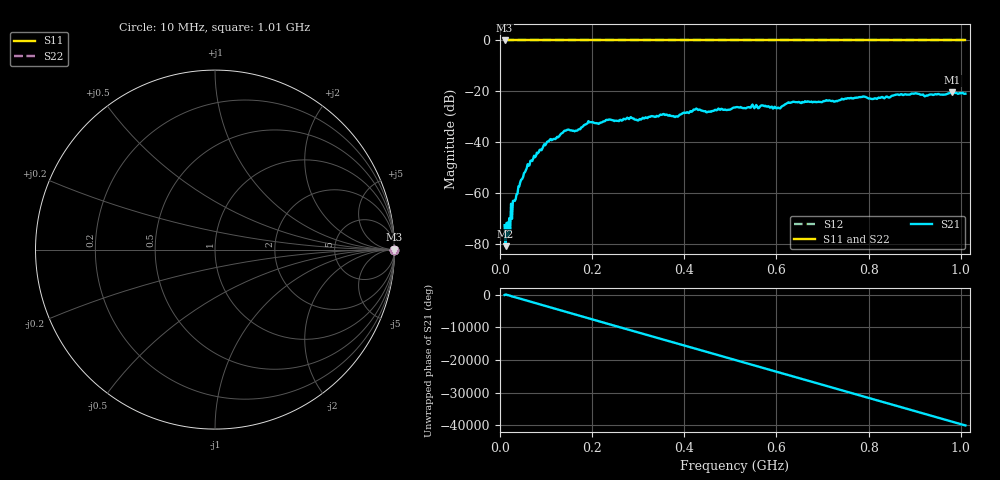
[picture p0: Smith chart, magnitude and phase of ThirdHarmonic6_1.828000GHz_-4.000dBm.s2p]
! 8/16/2025 10:08:27 PM
! C:\ANRITSUVNA\TEMP\TEMP.S2P
! CHANNEL.1
! TR.MEASUREMENT
! RAW.DATA
! RF.CORRECTION.OFF
! AVERAGING.OFF
! IF.BANDWIDTH: 5KHZ
! SWEEPTYPE:  FREQ.SWEEP(Linear)
! Reference Plane Port Info
! PORT:  PORT1  PORT2
! DISTANCE:  0  m  0  m
! TIME:  0  s  0  s
! PHASE.OFFSET:  0  deg.  0  deg.
! LOSS:  0  dB  0  dB
! REF.LOSS:  0  dB  0  dB
! REF.FREQ:  0  Hz  0  Hz
! Power Info
! POWER:  -20  dBm  -20  dBm
! EFF.POWER:  -20  dBm  -20  dBm
! SOURCE.ATTEN:  0  dB  0  dB
! TEST.ATTEN:  0  dB  0  dB
# GHZ S RI R 50.0
! FREQ.GHZ  S11RE  S11IM  S21RE  S21IM  S12RE  S12IM  S22RE  S22IM
!; PortSelection: Port_12
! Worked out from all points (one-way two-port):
!   501 points, 10 MHz to 1.01 GHz, reference 50 ohm
!   highest |S21| = -20.40 dB at 982 MHz (marker M1); lowest = -80.8 dB at 12 MHz (marker M2)
!   lowest |S11| = 0.0 dB at 10 MHz (marker M3)
!   |S11| at or under -10 dB: nowhere
!   |S22| runs from 0.0 to 0.0 dB; largest |S21 - S12| = 1.1
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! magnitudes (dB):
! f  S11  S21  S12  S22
! 10 MHz  0.0  -72.5  0.0  0.0
! 12 MHz  0.0  -80.8  0.0  0.0
! 14 MHz  0.0  -71.8  0.0  0.0
! 22 MHz  0.0  -74.9  0.0  0.0
! 28 MHz  0.0  -63.1  0.0  0.0
! 44 MHz  0.0  -55.6  0.0  0.0
! 70 MHz  0.0  -47.4  0.0  0.0
! 106 MHz  0.0  -39.6  0.0  0.0
! 144 MHz  0.0  -35.3  0.0  0.0
! 178 MHz  0.0  -34.0  0.0  0.0
! 196 MHz  0.0  -32.1  0.0  0.0
! 344 MHz  0.0  -29.8  0.0  0.0
! 382 MHz  0.0  -29.8  0.0  0.0
! 424 MHz  0.0  -27.1  0.0  0.0
! 452 MHz  0.0  -28.0  0.0  0.0
! 510 MHz  0.0  -26.3  0.0  0.0
! 604 MHz  0.0  -26.4  0.0  0.0
! 628 MHz  0.0  -24.5  0.0  0.0
! 678 MHz  0.0  -24.3  0.0  0.0
! 844 MHz  0.0  -22.4  0.0  0.0
! 982 MHz  0.0  -20.4  0.0  0.0
! 1.01 GHz  0.0  -20.9  0.0  0.0
